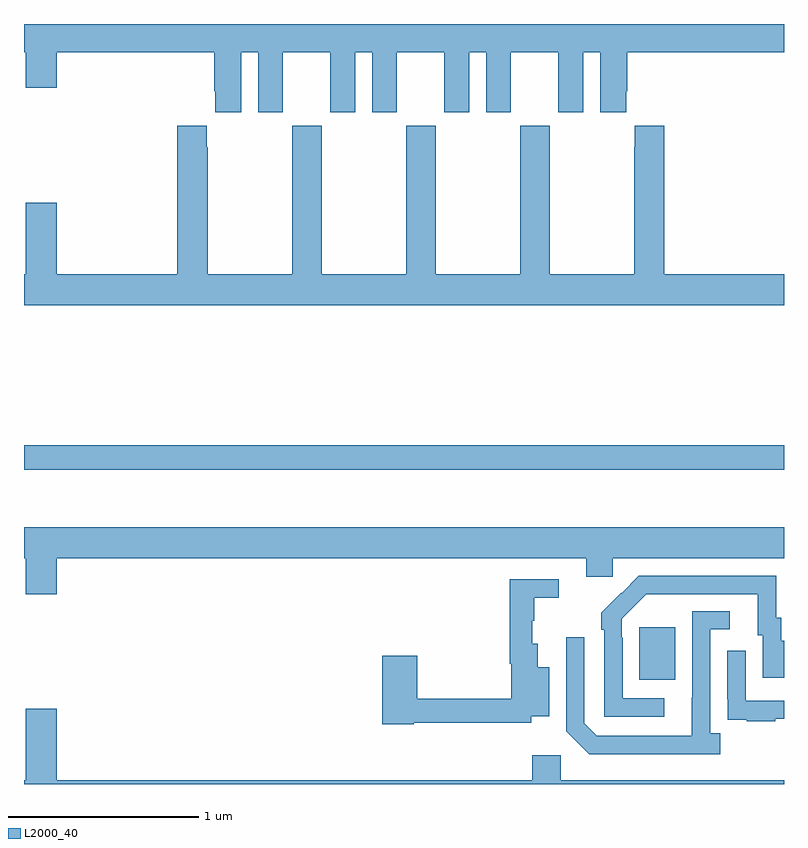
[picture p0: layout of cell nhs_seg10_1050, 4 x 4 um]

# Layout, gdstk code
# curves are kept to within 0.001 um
import gdstk
lib = gdstk.Library(unit=1e-6, precision=1e-09)
def R(c, l, rs):  # rectangles x0, y0, x1, y1
    for r in rs: c.add(gdstk.rectangle(r[:2], r[2:], *l))
def P(c, l, *ps):  # polygons
    for p in ps: c.add(gdstk.Polygon(p, *l))
L2000_40 = (2000, 40)

nhs_seg10_1050 = lib.new_cell('nhs_seg10_1050')
R(nhs_seg10_1050, L2000_40, [(168.239,1261.049,168.427,1261.324), (165,1262.154,169,1262.282)])
P(nhs_seg10_1050, L2000_40, [(166.144,1264.352),(166.232,1264.352),(166.232,1264.035),(166.363,1264.035),(166.363,1264.352),(166.613,1264.352),(166.613,1264.035),(166.744,1264.035),(166.744,1264.352),(166.832,1264.352),(166.832,1264.035),(166.963,1264.035),(166.963,1264.352),(167.213,1264.352),(167.213,1264.035),(167.344,1264.035),(167.344,1264.352),(167.432,1264.352),(167.432,1264.035),(167.563,1264.035),(167.563,1264.352),(167.813,1264.352),(167.813,1264.035),(167.944,1264.035),(167.944,1264.352),(168.032,1264.352),(168.032,1264.035),(168.169,1264.035),(168.169,1264.147),(168.176,1264.147),(168.176,1264.352),(169,1264.352),(169,1264.5),(165,1264.5),(165,1264.352),(165.008,1264.352),(165.008,1264.164),(165.172,1264.164),(165.172,1264.352),(166.001,1264.352),(166.001,1264.147),(166.007,1264.147),(166.007,1264.035),(166.144,1264.035)],
  [(169,1263.184),(168.371,1263.184),(168.371,1263.964),(168.215,1263.964),(168.215,1263.851),(168.211,1263.851),(168.211,1263.184),(167.766,1263.184),(167.766,1263.964),(167.611,1263.964),(167.611,1263.184),(167.166,1263.184),(167.166,1263.964),(167.011,1263.964),(167.011,1263.184),(166.566,1263.184),(166.566,1263.964),(166.411,1263.964),(166.411,1263.184),(165.966,1263.184),(165.966,1263.851),(165.961,1263.851),(165.961,1263.964),(165.806,1263.964),(165.806,1263.184),(165.172,1263.184),(165.172,1263.559),(165.008,1263.559),(165.008,1263.184),(165,1263.184),(165,1263.02),(169,1263.02)],
  [(165.172,1261.688),(167.96,1261.688),(167.96,1261.59),(168.099,1261.59),(168.099,1261.688),(169,1261.688),(169,1261.852),(165,1261.852),(165,1261.688),(165.008,1261.688),(165.008,1261.5),(165.172,1261.5)],
  [(168.37,1260.951),(168.15,1260.951),(168.15,1261.271),(168.147,1261.271),(168.147,1261.371),(168.276,1261.5),(168.863,1261.5),(168.863,1261.284),(168.887,1261.284),(168.887,1261.059),(169,1261.059),(169,1261.255),(168.985,1261.255),(168.985,1261.374),(168.96,1261.374),(168.96,1261.596),(168.236,1261.596),(168.039,1261.401),(168.039,1261.313),(168.054,1261.313),(168.054,1260.855),(168.37,1260.855)],
  [(167.052,1260.822),(167.67,1260.822),(167.67,1260.857),(167.764,1260.857),(167.764,1261.114),(167.704,1261.114),(167.704,1261.237),(167.675,1261.237),(167.675,1261.359),(167.686,1261.359),(167.686,1261.48),(167.815,1261.48),(167.815,1261.578),(167.557,1261.578),(167.557,1261.133),(167.564,1261.133),(167.564,1260.95),(167.069,1260.95),(167.069,1261.174),(166.886,1261.174),(166.886,1260.814),(167.052,1260.814)],
  [(168.664,1260.766),(168.612,1260.766),(168.612,1261.314),(168.715,1261.314),(168.715,1261.41),(168.516,1261.41),(168.515,1260.753),(168.015,1260.753),(167.949,1260.819),(167.949,1261.273),(167.853,1261.273),(167.853,1260.777),(167.974,1260.656),(168.664,1260.656)],
  [(168.953,1260.843),(169,1260.843),(169,1260.939),(168.798,1260.939),(168.798,1261.201),(168.702,1261.201),(168.702,1260.946),(168.703,1260.946),(168.703,1260.837),(168.805,1260.837),(168.805,1260.831),(168.953,1260.831)],
  [(169,1260.52),(167.826,1260.52),(167.826,1260.652),(167.675,1260.652),(167.675,1260.52),(165.172,1260.52),(165.172,1260.895),(165.008,1260.895),(165.008,1260.52),(165,1260.52),(165,1260.5),(169,1260.5)])

lib.write_gds('nhs_seg10_1050.gds')
